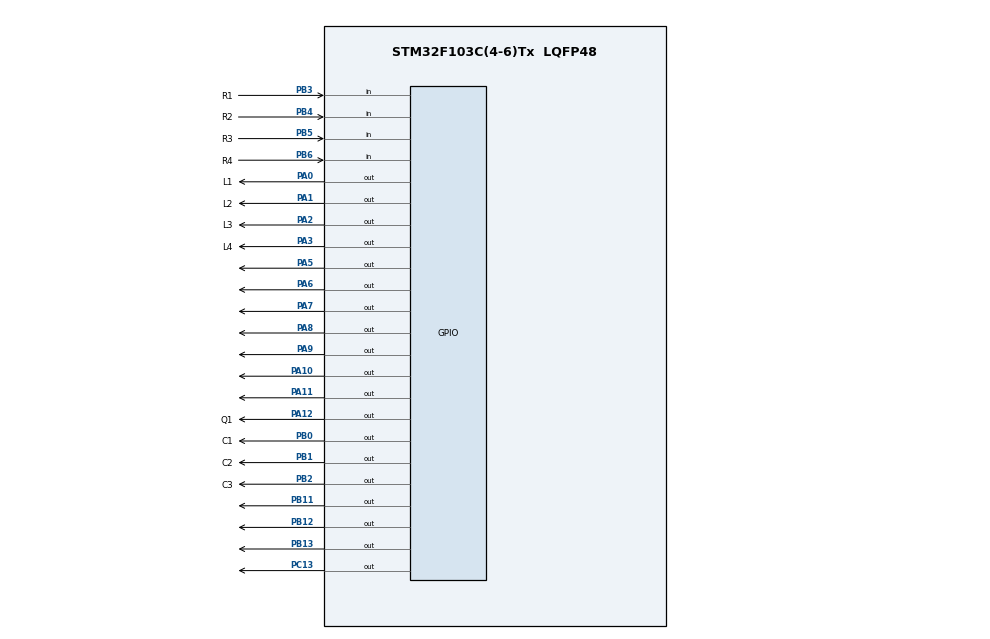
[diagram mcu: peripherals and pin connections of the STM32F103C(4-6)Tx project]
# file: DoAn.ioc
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Mcu.Family=STM32F1
Mcu.Name=STM32F103C(4-6)Tx
Mcu.Package=LQFP48
NVIC.PriorityGroup=NVIC_PRIORITYGROUP_4
PA0-WKUP.GPIO_Label=L1
PA0-WKUP.Signal=GPIO_Output
PA1.GPIO_Label=L2
PA1.Signal=GPIO_Output
PA10.Signal=GPIO_Output
PA11.Signal=GPIO_Output
PA12.GPIO_Label=Q1
PA12.Signal=GPIO_Output
PA13.Mode=Serial_Wire
PA13.Signal=SYS_JTMS-SWDIO
PA14.Mode=Serial_Wire
PA14.Signal=SYS_JTCK-SWCLK
PA2.GPIO_Label=L3
PA2.Signal=GPIO_Output
PA3.GPIO_Label=L4
PA3.Signal=GPIO_Output
PA5.Signal=GPIO_Output
PA6.Signal=GPIO_Output
PA7.Signal=GPIO_Output
PA8.Signal=GPIO_Output
PA9.Signal=GPIO_Output
PB0.GPIO_Label=C1
PB0.PinState=GPIO_PIN_SET
PB0.Signal=GPIO_Output
PB1.GPIO_Label=C2
PB1.PinState=GPIO_PIN_SET
PB1.Signal=GPIO_Output
PB11.Signal=GPIO_Output
PB12.Signal=GPIO_Output
PB13.Signal=GPIO_Output
PB2.GPIO_Label=C3
PB2.PinState=GPIO_PIN_SET
PB2.Signal=GPIO_Output
PB3.GPIO_Label=R1
PB3.GPIO_PuPd=GPIO_PULLUP
PB3.Signal=GPIO_Input
PB4.GPIO_Label=R2
PB4.GPIO_PuPd=GPIO_PULLUP
PB4.Signal=GPIO_Input
PB5.GPIO_Label=R3
PB5.GPIO_PuPd=GPIO_PULLUP
PB5.Signal=GPIO_Input
PB6.GPIO_Label=R4
PB6.GPIO_PuPd=GPIO_PULLUP
PB6.Signal=GPIO_Input
PC13-TAMPER-RTC.Signal=GPIO_Output
ProjectManager.HeapSize=0x200
ProjectManager.StackSize=0x400
ProjectManager.TargetToolchain=STM32CubeIDE
RCC.APB1Freq_Value=8000000
RCC.APB2Freq_Value=8000000
board=custom

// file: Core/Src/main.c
/* USER CODE BEGIN Header */
/**
  ******************************************************************************
  * @file           : main.c
  * @brief          : Main program body
  ******************************************************************************
  * @attention
  *
  * <h2><center>&copy; Copyright (c) 2024 STMicroelectronics.
  * All rights reserved.</center></h2>
  *
  * This software component is licensed by ST under BSD 3-Clause license,
  * the "License"; You may not use this file except in compliance with the
  * License. You may obtain a copy of the License at:
  *                        opensource.org/licenses/BSD-3-Clause
  *
  ******************************************************************************
  */
/* USER CODE END Header */
#include "main.h"

/* USER CODE BEGIN PV */
uint8_t dem = 0;
uint8_t var[4] = {17,17,17,17};
uint8_t password[4] = {1,1,1,1};
uint8_t Nhapsai = 0;
uint8_t last_key = 17; // Lưu phím vừa nhấn (ban đầu là không nhấn gì)
uint32_t last_key_time = 0;  // Thời gian của lần nhấn phím trước đó

uint8_t key_count = 0;
/* USER CODE END PV */

void SystemClock_Config(void);
static void MX_GPIO_Init(void);
/* USER CODE BEGIN PFP */
void quetbanphim()
{

	 uint32_t current_time = HAL_GetTick(); // Lấy thời gian hiện tại (ms)

	    // Quét cột thứ nhất
	    HAL_GPIO_WritePin(GPIOB, GPIO_PIN_0, 0); // Kéo cột 1 xuống mức thấp
	    if (HAL_GPIO_ReadPin(GPIOB, GPIO_PIN_3) == 0) // Nhấn phím "1"
	    {
	        while (HAL_GPIO_ReadPin(GPIOB, GPIO_PIN_3) == 0) {} // Chờ thả phím

	        if (last_key == 1) // Nếu phím trước đó cũng là "1"
	        {
	            // Kiểm tra thời gian giữa hai lần nhấn
	            if ((current_time - last_key_time) <= 500) // Nếu trong vòng 5s
	            {
	                var[dem-1] = 10; // Gán "A" vào var[0]
//	                dem++;     // Đặt vị trí tiếp theo là var[1]
	            }
	            else // Nếu cách nhau > 5s
	            {
	                if (dem < 4)
	                {
	                    var[dem] = 1; // Gán giá trị "1"
	                    dem++;
	                }
	            }
	        }
	        else // Nếu đây là lần nhấn đầu tiên
	        {
	            if (dem < 4)
	            {
	                var[dem] = 1; // Gán giá trị "1"
	                dem++;
	            }
	        }

	        last_key = 1;           // Cập nhật phím vừa nhấn
	        last_key_time = current_time; // Cập nhật thời gian nhấn
	    }
	if(HAL_GPIO_ReadPin(GPIOB,GPIO_PIN_4)==0)                // nhan phim 4
		{
			while(HAL_GPIO_ReadPin(GPIOB,GPIO_PIN_4)==0){}
		    if (last_key == 4)
					        {
					            if ((current_time - last_key_time) <= 500)
					            {
					                var[dem-1] = 13;
				//	                dem++;     // Đặt vị trí tiếp theo là var[1]
					            }
					            else
					            {
					                if (dem < 4)
					                {
					                    var[dem] = 4;
					                    dem++;
					                }
					            }
					        }
					        else
					        {
					            if (dem < 4)
					            {
					                var[dem] = 4;
					                dem++;
					            }
					        }

					        last_key = 4;
					        last_key_time = current_time;
					    }

	if(HAL_GPIO_ReadPin(GPIOB,GPIO_PIN_5)==0)                // nhan phim 7
		{
			while(HAL_GPIO_ReadPin(GPIOB,GPIO_PIN_5)==0){}
			if(dem<4)
			{
				var[dem] = 7;
				dem++;
			}
		}
	if(HAL_GPIO_ReadPin(GPIOB,GPIO_PIN_6)==0)                // nhan phim * hay phim xoa
		{
			while(HAL_GPIO_ReadPin(GPIOB,GPIO_PIN_6)==0){}
			if(dem>0)
			{
					dem--;
					var[dem]=17;
			}
		}
  HAL_GPIO_WritePin(GPIOB,GPIO_PIN_0,1);
	// nhan cot thu hai
	HAL_GPIO_WritePin(GPIOB,GPIO_PIN_1,0);
	if(HAL_GPIO_ReadPin(GPIOB,GPIO_PIN_3)==0)                // nhan phim 2
		{
		 {
			        while (HAL_GPIO_ReadPin(GPIOB, GPIO_PIN_3) == 0) {}

			        if (last_key == 2)
			        {
			            if ((current_time - last_key_time) <= 500)
			            {
			                var[dem-1] = 11;
		//	                dem++;     // Đặt vị trí tiếp theo là var[1]
			            }
			            else
			            {
			                if (dem < 4)
			                {
			                    var[dem] = 2;
			                    dem++;
			                }
			            }
			        }
			        else
			        {
			            if (dem < 4)
			            {
			                var[dem] = 2;
			                dem++;
			            }
			        }

			        last_key = 2;
			        last_key_time = current_time;
			    }
		}
	if(HAL_GPIO_ReadPin(GPIOB,GPIO_PIN_4)==0)                // nhan phim 5
		{
			while(HAL_GPIO_ReadPin(GPIOB,GPIO_PIN_4)==0){}
		    if (last_key == 5)
					        {
					            if ((current_time - last_key_time) <= 500)
					            {
					                var[dem-1] = 14;
				//	                dem++;     // Đặt vị trí tiếp theo là var[1]
					            }
					            else
					            {
					                if (dem < 4)
					                {
					                    var[dem] = 5;
					                    dem++;
					                }
					            }
					        }
					        else
					        {
					            if (dem < 4)
					            {
					                var[dem] = 5;
					                dem++;
					            }
					        }

					        last_key = 5;
					        last_key_time = current_time;
		}
	if(HAL_GPIO_ReadPin(GPIOB,GPIO_PIN_5)==0)                // nhan phim 8
		{
			while(HAL_GPIO_ReadPin(GPIOB,GPIO_PIN_5)==0){}
			if(dem<4)
			{
				var[dem] = 8;
				dem++;
			}
		}
	if(HAL_GPIO_ReadPin(GPIOB,GPIO_PIN_6)==0)                // nhan phim 0
		{
			while(HAL_GPIO_ReadPin(GPIOB,GPIO_PIN_6)==0){}
			if(dem<4)
			{
				var[dem] = 0;
				dem++;
			}
		}
	HAL_GPIO_WritePin(GPIOB,GPIO_PIN_1,1);
	// nhan cot thu ba
	HAL_GPIO_WritePin(GPIOB,GPIO_PIN_2,0);
	if(HAL_GPIO_ReadPin(GPIOB,GPIO_PIN_3)==0)                // nhan phim 3
		{
			while(HAL_GPIO_ReadPin(GPIOB,GPIO_PIN_3)==0){}
		    if (last_key == 3)
					        {
					            if ((current_time - last_key_time) <= 500)
					            {
					                var[dem-1] = 12;
				//	                dem++;     // Đặt vị trí tiếp theo là var[1]
					            }
					            else
					            {
					                if (dem < 4)
					                {
					                    var[dem] = 3;
					                    dem++;
					                }
					            }
					        }
					        else
					        {
					            if (dem < 4)
					            {
					                var[dem] = 3;
					                dem++;
					            }
					        }

					        last_key = 3;
					        last_key_time = current_time;
					    }

	if(HAL_GPIO_ReadPin(GPIOB,GPIO_PIN_4)==0)                // nhan phim 6
		{
			while(HAL_GPIO_ReadPin(GPIOB,GPIO_PIN_4)==0){}
		    if (last_key == 6)
					        {
					            if ((current_time - last_key_time) <= 500)
					            {
					                var[dem-1] = 15;
				//	                dem++;     // Đặt vị trí tiếp theo là var[1]
					            }
					            else
					            {
					                if (dem < 4)
					                {
					                    var[dem] = 6;
					                    dem++;
					                }
					            }
					        }
					        else
					        {
					            if (dem < 4)
					            {
					                var[dem] = 6;
					                dem++;
					            }
					        }

					        last_key = 6;
					        last_key_time = current_time;
					    }

	if(HAL_GPIO_ReadPin(GPIOB,GPIO_PIN_5)==0)                // nhan phim 9
		{
			while(HAL_GPIO_ReadPin(GPIOB,GPIO_PIN_5)==0){}
			if(dem<4)
			{
				var[dem] = 9;
				dem++;
			}
		}
	if(HAL_GPIO_ReadPin(GPIOB,GPIO_PIN_6)==0)                // nhan phim # hay phim Enter
		{
			while(HAL_GPIO_ReadPin(GPIOB,GPIO_PIN_6)==0){}
			CheckPass();                                         // kiem tra mat khau
		}
	HAL_GPIO_WritePin(GPIOB,GPIO_PIN_2,1);
}

void LED(uint8_t number)
{
    switch (number){
        case 0: // Hiển thị "0"
        	HAL_GPIO_WritePin(GPIOA, GPIO_PIN_5 | GPIO_PIN_6 | GPIO_PIN_7 | GPIO_PIN_8 | GPIO_PIN_9 | GPIO_PIN_10 , 0);
            HAL_GPIO_WritePin(GPIOA, GPIO_PIN_11, 1); // a

            break;
        case 1: // Hiển thị "1"
            HAL_GPIO_WritePin(GPIOA, GPIO_PIN_5| GPIO_PIN_6 | GPIO_PIN_7 | GPIO_PIN_8 | GPIO_PIN_9 | GPIO_PIN_10| GPIO_PIN_11, 1);
            HAL_GPIO_WritePin(GPIOA, GPIO_PIN_6|GPIO_PIN_7, 0);

            break;
        case 2: // Hiển thị "2"
        	 HAL_GPIO_WritePin(GPIOA, GPIO_PIN_5| GPIO_PIN_6 | GPIO_PIN_8 | GPIO_PIN_9 | GPIO_PIN_11, 0);
        	 HAL_GPIO_WritePin(GPIOA, GPIO_PIN_10|GPIO_PIN_7, 1);

            break;
        case 3: // Hiển thị "3"
            HAL_GPIO_WritePin(GPIOA, GPIO_PIN_5, 0);
            HAL_GPIO_WritePin(GPIOA, GPIO_PIN_6, 0);
            HAL_GPIO_WritePin(GPIOA, GPIO_PIN_7, 0);
            HAL_GPIO_WritePin(GPIOA, GPIO_PIN_8, 0);
            HAL_GPIO_WritePin(GPIOA, GPIO_PIN_9, 1);
            HAL_GPIO_WritePin(GPIOA, GPIO_PIN_10, 1);
            HAL_GPIO_WritePin(GPIOA, GPIO_PIN_11, 0);
            break;
        case 4: // Hiển thị "4"
            HAL_GPIO_WritePin(GPIOA, GPIO_PIN_5, 1);
            HAL_GPIO_WritePin(GPIOA, GPIO_PIN_6, 0);
            HAL_GPIO_WritePin(GPIOA, GPIO_PIN_7, 0);
            HAL_GPIO_WritePin(GPIOA, GPIO_PIN_8, 1);
            HAL_GPIO_WritePin(GPIOA, GPIO_PIN_9, 1);
            HAL_GPIO_WritePin(GPIOA, GPIO_PIN_10, 0);
            HAL_GPIO_WritePin(GPIOA, GPIO_PIN_11, 0);
            break;
        case 5: // Hiển thị "5"
            HAL_GPIO_WritePin(GPIOA, GPIO_PIN_5, 0);
            HAL_GPIO_WritePin(GPIOA, GPIO_PIN_6, 1);
            HAL_GPIO_WritePin(GPIOA, GPIO_PIN_7, 0);
            HAL_GPIO_WritePin(GPIOA, GPIO_PIN_8, 0);
            HAL_GPIO_WritePin(GPIOA, GPIO_PIN_9, 1);
            HAL_GPIO_WritePin(GPIOA, GPIO_PIN_10, 0);
            HAL_GPIO_WritePin(GPIOA, GPIO_PIN_11, 0);
            break;
        case 6: // Hiển thị "6"
            HAL_GPIO_WritePin(GPIOA, GPIO_PIN_5, 0);
            HAL_GPIO_WritePin(GPIOA, GPIO_PIN_6, 1);
            HAL_GPIO_WritePin(GPIOA, GPIO_PIN_7, 0);
            HAL_GPIO_WritePin(GPIOA, GPIO_PIN_8, 0);
            HAL_GPIO_WritePin(GPIOA, GPIO_PIN_9, 0);
            HAL_GPIO_WritePin(GPIOA, GPIO_PIN_10, 0);
            HAL_GPIO_WritePin(GPIOA, GPIO_PIN_11, 0);
            break;
        case 7: // Hiển thị "7"
            HAL_GPIO_WritePin(GPIOA, GPIO_PIN_5, 0);
            HAL_GPIO_WritePin(GPIOA, GPIO_PIN_6, 0);
            HAL_GPIO_WritePin(GPIOA, GPIO_PIN_7, 0);
            HAL_GPIO_WritePin(GPIOA, GPIO_PIN_8, 1);
            HAL_GPIO_WritePin(GPIOA, GPIO_PIN_9, 1);
            HAL_GPIO_WritePin(GPIOA, GPIO_PIN_10, 1);
            HAL_GPIO_WritePin(GPIOA, GPIO_PIN_11, 1);
            break;
        case 8: // Hiển thị "8"
            HAL_GPIO_WritePin(GPIOA, GPIO_PIN_5, 0);
            HAL_GPIO_WritePin(GPIOA, GPIO_PIN_6, 0);
            HAL_GPIO_WritePin(GPIOA, GPIO_PIN_7, 0);
            HAL_GPIO_WritePin(GPIOA, GPIO_PIN_8, 0);
            HAL_GPIO_WritePin(GPIOA, GPIO_PIN_9, 0);
            HAL_GPIO_WritePin(GPIOA, GPIO_PIN_10, 0);
            HAL_GPIO_WritePin(GPIOA, GPIO_PIN_11, 0);
            break;
        case 9: // Hiển thị "9"
            HAL_GPIO_WritePin(GPIOA, GPIO_PIN_5, 0);
            HAL_GPIO_WritePin(GPIOA, GPIO_PIN_6, 0);
            HAL_GPIO_WritePin(GPIOA, GPIO_PIN_7, 0);
            HAL_GPIO_WritePin(GPIOA, GPIO_PIN_8, 0);
            HAL_GPIO_WritePin(GPIOA, GPIO_PIN_9, 1);
            HAL_GPIO_WritePin(GPIOA, GPIO_PIN_10, 0);
            HAL_GPIO_WritePin(GPIOA, GPIO_PIN_11, 0);
            break;
        case 10: // Hiển thị "A"
            HAL_GPIO_WritePin(GPIOA, GPIO_PIN_5, 0);
            HAL_GPIO_WritePin(GPIOA, GPIO_PIN_6, 0);
            HAL_GPIO_WritePin(GPIOA, GPIO_PIN_7, 0);
            HAL_GPIO_WritePin(GPIOA, GPIO_PIN_8, 1);
            HAL_GPIO_WritePin(GPIOA, GPIO_PIN_9, 0);
            HAL_GPIO_WritePin(GPIOA, GPIO_PIN_10, 0);
            HAL_GPIO_WritePin(GPIOA, GPIO_PIN_11, 0);
            break;
        case 11: // Hiển thị "B"
               HAL_GPIO_WritePin(GPIOA, GPIO_PIN_5, 1);
               HAL_GPIO_WritePin(GPIOA, GPIO_PIN_6, 1);
               HAL_GPIO_WritePin(GPIOA, GPIO_PIN_7, 0);
               HAL_GPIO_WritePin(GPIOA, GPIO_PIN_8, 0);
               HAL_GPIO_WritePin(GPIOA, GPIO_PIN_9, 0);
               HAL_GPIO_WritePin(GPIOA, GPIO_PIN_10, 0);
               HAL_GPIO_WritePin(GPIOA, GPIO_PIN_11, 0);
               break;
           case 12: // Hiển thị "C"
               HAL_GPIO_WritePin(GPIOA, GPIO_PIN_5, 0);
               HAL_GPIO_WritePin(GPIOA, GPIO_PIN_6, 1);
               HAL_GPIO_WritePin(GPIOA, GPIO_PIN_7, 1);
               HAL_GPIO_WritePin(GPIOA, GPIO_PIN_8, 0);
               HAL_GPIO_WritePin(GPIOA, GPIO_PIN_9, 0);
               HAL_GPIO_WritePin(GPIOA, GPIO_PIN_10, 0);
               HAL_GPIO_WritePin(GPIOA, GPIO_PIN_11, 1);
               break;
           case 13: // Hiển thị "D"
               HAL_GPIO_WritePin(GPIOA, GPIO_PIN_5, 1);
               HAL_GPIO_WritePin(GPIOA, GPIO_PIN_6, 0);
               HAL_GPIO_WritePin(GPIOA, GPIO_PIN_7, 0);
               HAL_GPIO_WritePin(GPIOA, GPIO_PIN_8, 0);
               HAL_GPIO_WritePin(GPIOA, GPIO_PIN_9, 0);
               HAL_GPIO_WritePin(GPIOA, GPIO_PIN_10, 1);
               HAL_GPIO_WritePin(GPIOA, GPIO_PIN_11, 0);
               break;
           case 14: // Hiển thị "E"
               HAL_GPIO_WritePin(GPIOA, GPIO_PIN_5, 0);
               HAL_GPIO_WritePin(GPIOA, GPIO_PIN_6, 1);
               HAL_GPIO_WritePin(GPIOA, GPIO_PIN_7, 1);
               HAL_GPIO_WritePin(GPIOA, GPIO_PIN_8, 0);
               HAL_GPIO_WritePin(GPIOA, GPIO_PIN_9, 0);
               HAL_GPIO_WritePin(GPIOA, GPIO_PIN_10, 0);
               HAL_GPIO_WritePin(GPIOA, GPIO_PIN_11, 0);
               break;
           case 15: // Hiển thị "F"
               HAL_GPIO_WritePin(GPIOA, GPIO_PIN_5, 0);
               HAL_GPIO_WritePin(GPIOA, GPIO_PIN_6, 1);
               HAL_GPIO_WritePin(GPIOA, GPIO_PIN_7, 1);
               HAL_GPIO_WritePin(GPIOA, GPIO_PIN_8, 1);
               HAL_GPIO_WritePin(GPIOA, GPIO_PIN_9, 0);
               HAL_GPIO_WritePin(GPIOA, GPIO_PIN_10, 0);
               HAL_GPIO_WritePin(GPIOA, GPIO_PIN_11, 0);
               break;
        default: // Tắt LED
            HAL_GPIO_WritePin(GPIOA, GPIO_PIN_5 | GPIO_PIN_6 | GPIO_PIN_7 |
                                     GPIO_PIN_8 | GPIO_PIN_9 | GPIO_PIN_10 , 1);
            break;
    }

}

void quetled()
{
	HAL_GPIO_WritePin(GPIOA,GPIO_PIN_0,1);                // quet led so 1
	LED(var[0]);
	HAL_Delay(5);
	HAL_GPIO_WritePin(GPIOA,GPIO_PIN_0,0);

	HAL_GPIO_WritePin(GPIOA,GPIO_PIN_1,1);                // quet led so 2
	LED(var[1]);
	HAL_Delay(5);
	HAL_GPIO_WritePin(GPIOA,GPIO_PIN_1,0);

	HAL_GPIO_WritePin(GPIOA,GPIO_PIN_2,1);                // quet led so 3
	LED(var[2]);
	HAL_Delay(5);
	HAL_GPIO_WritePin(GPIOA,GPIO_PIN_2,0);

	HAL_GPIO_WritePin(GPIOA,GPIO_PIN_3,1);                // quet led so 4
	LED(var[3]);
	HAL_Delay(5);
	HAL_GPIO_WritePin(GPIOA,GPIO_PIN_3,0);

}

void CheckPass(void)
{
    if (Nhapsai < 3)
    {
        int match = 1; // Giả định là đúng
        for (int k = 0; k < 4; k++)
        {
            if (var[k] != password[k])
            {
                match = 0; // Nếu sai, đặt c�? báo sai
                break;
            }
        }
        if (match)
        {
            for (int i = 0; i < 4; i++)
                var[i] = 11; // Hiển thị thành công
            dem = 0;
            Nhapsai = 0; // Reset số lần nhập sai
            HAL_GPIO_WritePin(GPIOB, GPIO_PIN_13, SET);

            HAL_GPIO_WritePin(GPIOB, GPIO_PIN_12, RESET);
            HAL_GPIO_WritePin(GPIOB, GPIO_PIN_11, RESET);

        }
        else
        {
            for (int j = 0; j < 4; j++)
                var[j] = 17; // Hiển thị thất bại
            dem = 0;
            Nhapsai++; // Tăng số lần nhập sai
            HAL_GPIO_WritePin(GPIOB, GPIO_PIN_12, SET);
            HAL_GPIO_WritePin(GPIOB, GPIO_PIN_13, RESET);

        }
    }
    else
    {
HAL_GPIO_TogglePin(GPIOB, GPIO_PIN_11);

HAL_Delay(200);}
}

/* USER CODE END PFP */

int main(void)
{

  /* MCU Configuration--------------------------------------------------------*/

  /* Reset of all peripherals, Initializes the Flash interface and the Systick. */
  HAL_Init();

  /* Configure the system clock */
  SystemClock_Config();

  /* Initialize all configured peripherals */
  MX_GPIO_Init();

  /* Infinite loop */
  /* USER CODE BEGIN WHILE */
  while (1)
  {
quetbanphim();
quetled();
    /* USER CODE END WHILE */

  }
}

void SystemClock_Config(void)
{
  RCC_OscInitTypeDef RCC_OscInitStruct = {0};
  RCC_ClkInitTypeDef RCC_ClkInitStruct = {0};

  /** Initializes the RCC Oscillators according to the specified parameters
  * in the RCC_OscInitTypeDef structure.
  */
  RCC_OscInitStruct.OscillatorType = RCC_OSCILLATORTYPE_HSI;
  RCC_OscInitStruct.HSIState = RCC_HSI_ON;
  RCC_OscInitStruct.HSICalibrationValue = RCC_HSICALIBRATION_DEFAULT;
  RCC_OscInitStruct.PLL.PLLState = RCC_PLL_NONE;
  if (HAL_RCC_OscConfig(&RCC_OscInitStruct) != HAL_OK)
  {
    Error_Handler();
  }
  /** Initializes the CPU, AHB and APB buses clocks
  */
  RCC_ClkInitStruct.ClockType = RCC_CLOCKTYPE_HCLK|RCC_CLOCKTYPE_SYSCLK
                              |RCC_CLOCKTYPE_PCLK1|RCC_CLOCKTYPE_PCLK2;
  RCC_ClkInitStruct.SYSCLKSource = RCC_SYSCLKSOURCE_HSI;
  RCC_ClkInitStruct.AHBCLKDivider = RCC_SYSCLK_DIV1;
  RCC_ClkInitStruct.APB1CLKDivider = RCC_HCLK_DIV1;
  RCC_ClkInitStruct.APB2CLKDivider = RCC_HCLK_DIV1;

  if (HAL_RCC_ClockConfig(&RCC_ClkInitStruct, FLASH_LATENCY_0) != HAL_OK)
  {
    Error_Handler();
  }
}

static void MX_GPIO_Init(void)
{
  GPIO_InitTypeDef GPIO_InitStruct = {0};

  /* GPIO Ports Clock Enable */
  __HAL_RCC_GPIOC_CLK_ENABLE();
  __HAL_RCC_GPIOA_CLK_ENABLE();
  __HAL_RCC_GPIOB_CLK_ENABLE();

  /*Configure GPIO pin Output Level */
  HAL_GPIO_WritePin(GPIOC, GPIO_PIN_13, GPIO_PIN_RESET);

  /*Configure GPIO pin Output Level */
  HAL_GPIO_WritePin(GPIOA, L1_Pin|L2_Pin|L3_Pin|L4_Pin
                          |GPIO_PIN_5|GPIO_PIN_6|GPIO_PIN_7|GPIO_PIN_8
                          |GPIO_PIN_9|GPIO_PIN_10|GPIO_PIN_11|Q1_Pin, GPIO_PIN_RESET);

  /*Configure GPIO pin Output Level */
  HAL_GPIO_WritePin(GPIOB, C1_Pin|C2_Pin|C3_Pin, GPIO_PIN_SET);

  /*Configure GPIO pin Output Level */
  HAL_GPIO_WritePin(GPIOB, GPIO_PIN_11|GPIO_PIN_12|GPIO_PIN_13, GPIO_PIN_RESET);

  /*Configure GPIO pin : PC13 */
  GPIO_InitStruct.Pin = GPIO_PIN_13;
  GPIO_InitStruct.Mode = GPIO_MODE_OUTPUT_PP;
  GPIO_InitStruct.Pull = GPIO_NOPULL;
  GPIO_InitStruct.Speed = GPIO_SPEED_FREQ_LOW;
  HAL_GPIO_Init(GPIOC, &GPIO_InitStruct);

  /*Configure GPIO pins : L1_Pin L2_Pin L3_Pin L4_Pin
                           PA5 PA6 PA7 PA8
                           PA9 PA10 PA11 Q1_Pin */
  GPIO_InitStruct.Pin = L1_Pin|L2_Pin|L3_Pin|L4_Pin
                          |GPIO_PIN_5|GPIO_PIN_6|GPIO_PIN_7|GPIO_PIN_8
                          |GPIO_PIN_9|GPIO_PIN_10|GPIO_PIN_11|Q1_Pin;
  GPIO_InitStruct.Mode = GPIO_MODE_OUTPUT_PP;
  GPIO_InitStruct.Pull = GPIO_NOPULL;
  GPIO_InitStruct.Speed = GPIO_SPEED_FREQ_LOW;
  HAL_GPIO_Init(GPIOA, &GPIO_InitStruct);

  /*Configure GPIO pins : C1_Pin C2_Pin C3_Pin PB11
                           PB12 PB13 */
  GPIO_InitStruct.Pin = C1_Pin|C2_Pin|C3_Pin|GPIO_PIN_11
                          |GPIO_PIN_12|GPIO_PIN_13;
  GPIO_InitStruct.Mode = GPIO_MODE_OUTPUT_PP;
  GPIO_InitStruct.Pull = GPIO_NOPULL;
  GPIO_InitStruct.Speed = GPIO_SPEED_FREQ_LOW;
  HAL_GPIO_Init(GPIOB, &GPIO_InitStruct);

  /*Configure GPIO pins : R1_Pin R2_Pin R3_Pin R4_Pin */
  GPIO_InitStruct.Pin = R1_Pin|R2_Pin|R3_Pin|R4_Pin;
  GPIO_InitStruct.Mode = GPIO_MODE_INPUT;
  GPIO_InitStruct.Pull = GPIO_PULLUP;
  HAL_GPIO_Init(GPIOB, &GPIO_InitStruct);

}

void Error_Handler(void)
{
  __disable_irq();
  while (1)
  {
  }
}

/************************ (C) COPYRIGHT STMicroelectronics *****END OF FILE****/
